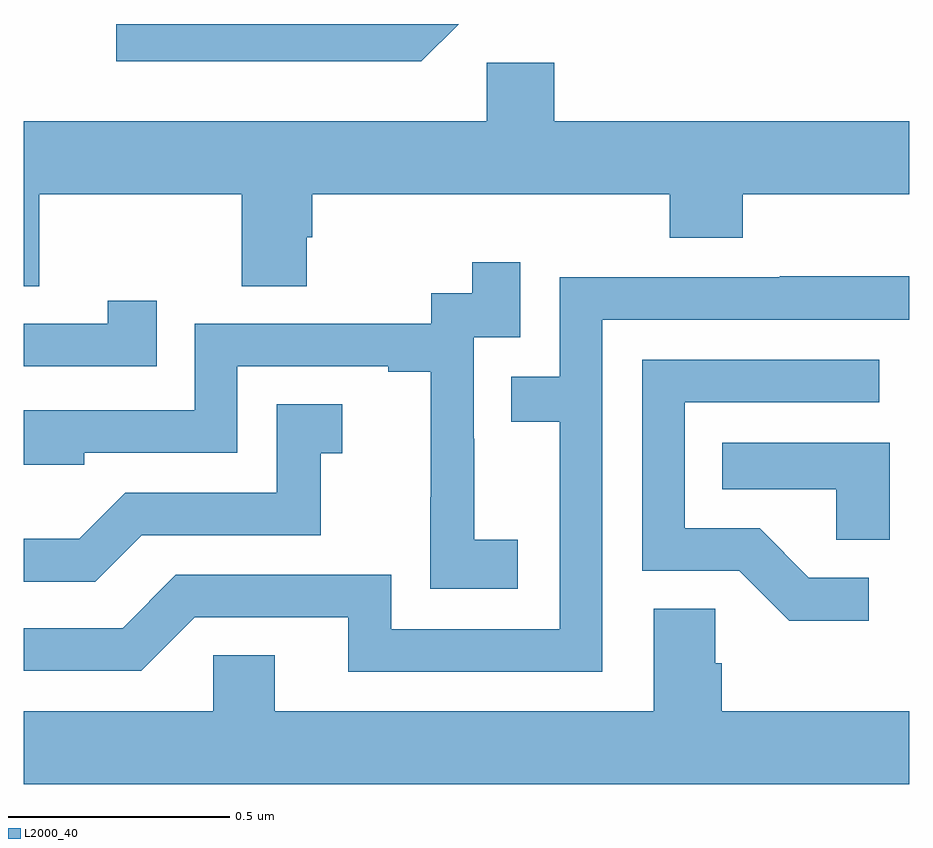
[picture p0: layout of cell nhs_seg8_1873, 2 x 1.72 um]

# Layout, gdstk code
import gdstk
lib = gdstk.Library(unit=1e-6, precision=1e-09)
def P(c, l, *ps):  # polygons
    for p in ps: c.add(gdstk.Polygon(p, *l))
L2000_40 = (2000, 40)

nhs_seg8_1873 = lib.new_cell('nhs_seg8_1873')
P(nhs_seg8_1873, L2000_40, [(136.982,1100.9),(136.209,1100.9),(136.209,1100.816),(136.898,1100.816)],
  [(136.035,1100.516),(136.492,1100.516),(136.492,1100.308),(136.639,1100.308),(136.639,1100.418),(136.652,1100.418),(136.652,1100.516),(137.459,1100.516),(137.459,1100.417),(137.624,1100.417),(137.624,1100.516),(138,1100.516),(138,1100.68),(137.198,1100.68),(137.198,1100.812),(137.046,1100.812),(137.046,1100.68),(136,1100.68),(136,1100.308),(136.035,1100.308)],
  [(137.116,1099.735),(137.018,1099.735),(137.018,1099.964),(137.016,1099.964),(137.016,1100.193),(137.121,1100.193),(137.121,1100.362),(137.013,1100.362),(137.013,1100.292),(136.92,1100.292),(136.92,1100.223),(136.386,1100.223),(136.386,1100.028),(136,1100.028),(136,1099.905),(136.137,1099.905),(136.137,1099.932),(136.482,1099.932),(136.482,1100.127),(136.823,1100.127),(136.823,1100.115),(136.919,1100.115),(136.919,1099.831),(136.918,1099.831),(136.918,1099.625),(137.116,1099.625)],
  [(137.307,1100.232),(138,1100.232),(138,1100.33),(137.707,1100.33),(137.707,1100.328),(137.211,1100.328),(137.211,1100.103),(137.101,1100.103),(137.101,1100.002),(137.211,1100.002),(137.211,1099.533),(136.83,1099.533),(136.83,1099.656),(136.344,1099.656),(136.224,1099.536),(136,1099.536),(136,1099.44),(136.266,1099.44),(136.386,1099.56),(136.733,1099.56),(136.733,1099.437),(137.307,1099.437)],
  [(136.301,1100.275),(136.19,1100.275),(136.19,1100.223),(136,1100.223),(136,1100.127),(136.301,1100.127)],
  [(137.908,1099.65),(137.773,1099.65),(137.662,1099.761),(137.493,1099.761),(137.493,1100.046),(137.932,1100.046),(137.932,1100.142),(137.397,1100.142),(137.397,1099.665),(137.616,1099.665),(137.729,1099.553),(137.908,1099.553)],
  [(136.267,1099.746),(136.671,1099.746),(136.671,1099.931),(136.72,1099.931),(136.72,1100.041),(136.572,1100.041),(136.572,1099.842),(136.23,1099.842),(136.126,1099.738),(136,1099.738),(136,1099.641),(136.162,1099.641)],
  [(137.956,1099.954),(137.578,1099.954),(137.578,1099.85),(137.835,1099.85),(137.835,1099.735),(137.956,1099.735)],
  [(138,1099.348),(137.576,1099.348),(137.576,1099.457),(137.562,1099.457),(137.562,1099.58),(137.423,1099.58),(137.423,1099.348),(136.567,1099.348),(136.567,1099.475),(136.428,1099.475),(136.428,1099.348),(136,1099.348),(136,1099.184),(138,1099.184)])

lib.write_gds('nhs_seg8_1873.gds')
